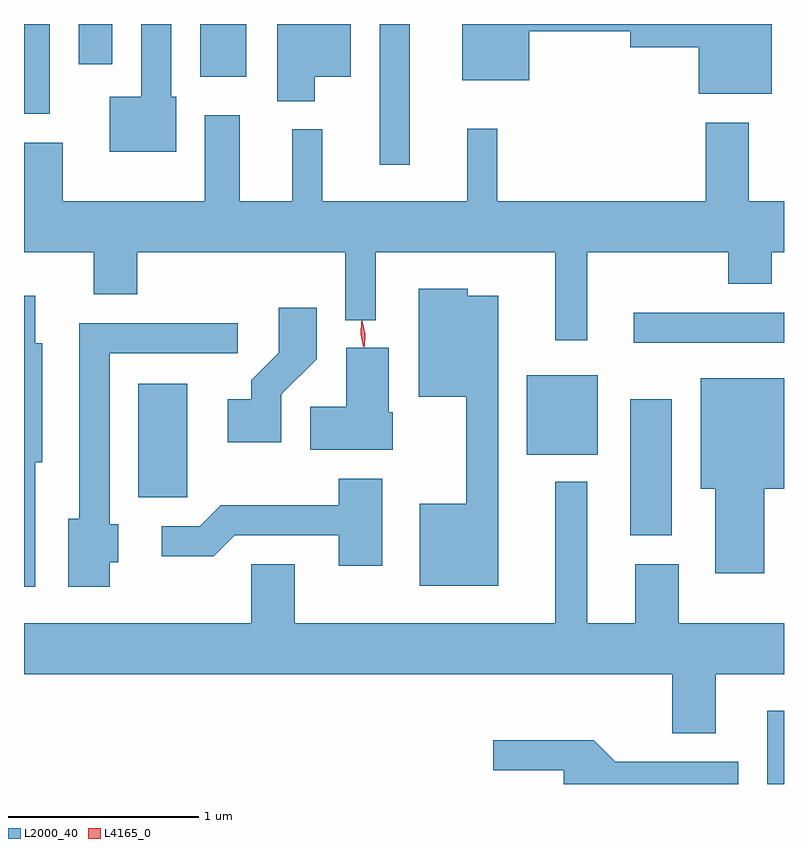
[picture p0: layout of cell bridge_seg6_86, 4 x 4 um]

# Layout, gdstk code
import gdstk
lib = gdstk.Library(unit=1e-6, precision=1e-09)
def R(c, l, rs):  # rectangles x0, y0, x1, y1
    for r in rs: c.add(gdstk.rectangle(r[:2], r[2:], *l))
def P(c, l, *ps):  # polygons
    for p in ps: c.add(gdstk.Polygon(p, *l))
L2000_40 = (2000, 40)
L4165_0 = (4165, 0)

bridge_seg6_86 = lib.new_cell('bridge_seg6_86')
R(bridge_seg6_86, L2000_40, [(1360.796,1647.138,1360.884,1647.524), (1360.076,1648.446,1360.294,1649.164), (1357.486,1648.646,1357.744,1649.244), (1359.531,1648.871,1359.904,1649.289), (1360.093,1649.461,1360.884,1649.619), (1358.756,1650.398,1358.914,1651.138), (1356.884,1650.666,1357.019,1651.138), (1357.811,1650.861,1358.054,1651.138), (1357.171,1650.926,1357.349,1651.138)])
P(bridge_seg6_86, L2000_40, [(1358.414,1650.861),(1358.604,1650.861),(1358.604,1651.138),(1358.216,1651.138),(1358.216,1650.731),(1358.414,1650.731)],
  [(1360.819,1651.138),(1359.191,1651.138),(1359.191,1650.841),(1359.544,1650.841),(1359.544,1651.101),(1360.076,1651.101),(1360.076,1651.016),(1360.436,1651.016),(1360.436,1650.771),(1360.819,1650.771)],
  [(1357.684,1650.754),(1357.659,1650.754),(1357.659,1651.138),(1357.501,1651.138),(1357.501,1650.754),(1357.336,1650.754),(1357.336,1650.466),(1357.684,1650.466)],
  [(1359.849,1649.936),(1360.591,1649.936),(1360.591,1649.771),(1360.819,1649.771),(1360.819,1649.936),(1360.884,1649.936),(1360.884,1650.204),(1360.699,1650.204),(1360.699,1650.619),(1360.471,1650.619),(1360.471,1650.204),(1359.374,1650.204),(1359.374,1650.588),(1359.216,1650.588),(1359.216,1650.204),(1358.454,1650.204),(1358.454,1650.583),(1358.296,1650.583),(1358.296,1650.204),(1358.019,1650.204),(1358.019,1650.659),(1357.836,1650.659),(1357.836,1650.204),(1357.089,1650.204),(1357.089,1650.514),(1356.884,1650.514),(1356.884,1649.936),(1357.251,1649.936),(1357.251,1649.716),(1357.479,1649.716),(1357.479,1649.936),(1358.576,1649.936),(1358.576,1649.578),(1358.734,1649.578),(1358.734,1649.936),(1359.681,1649.936),(1359.681,1649.473),(1359.849,1649.473)],
  [(1359.379,1649.709),(1359.219,1649.709),(1359.219,1649.744),(1358.961,1649.744),(1358.961,1649.176),(1359.211,1649.176),(1359.211,1648.614),(1358.966,1648.614),(1358.966,1648.181),(1359.379,1648.181)],
  [(1356.944,1648.831),(1356.979,1648.831),(1356.979,1649.459),(1356.944,1649.459),(1356.944,1649.709),(1356.884,1649.709),(1356.884,1648.176),(1356.944,1648.176)],
  [(1358.239,1649.189),(1358.424,1649.374),(1358.424,1649.644),(1358.226,1649.644),(1358.226,1649.407),(1358.081,1649.262),(1358.081,1649.164),(1357.956,1649.164),(1357.956,1648.936),(1358.239,1648.936)],
  [(1357.334,1648.306),(1357.379,1648.306),(1357.379,1648.504),(1357.334,1648.504),(1357.334,1649.406),(1358.008,1649.406),(1358.008,1649.564),(1357.176,1649.564),(1357.176,1648.534),(1357.116,1648.534),(1357.116,1648.176),(1357.334,1648.176)],
  [(1358.824,1649.094),(1358.804,1649.094),(1358.804,1649.434),(1358.581,1649.434),(1358.581,1649.124),(1358.391,1649.124),(1358.391,1648.896),(1358.824,1648.896)],
  [(1360.779,1648.691),(1360.884,1648.691),(1360.884,1649.274),(1360.446,1649.274),(1360.446,1648.691),(1360.521,1648.691),(1360.521,1648.246),(1360.779,1648.246)],
  [(1358.769,1648.744),(1358.541,1648.744),(1358.541,1648.604),(1357.919,1648.604),(1357.809,1648.494),(1357.608,1648.494),(1357.608,1648.336),(1357.882,1648.336),(1357.992,1648.446),(1358.541,1648.446),(1358.541,1648.286),(1358.769,1648.286)],
  [(1360.524,1647.716),(1360.884,1647.716),(1360.884,1647.984),(1360.329,1647.984),(1360.329,1648.294),(1360.101,1648.294),(1360.101,1647.984),(1359.849,1647.984),(1359.849,1648.728),(1359.681,1648.728),(1359.681,1647.984),(1358.309,1647.984),(1358.309,1648.294),(1358.081,1648.294),(1358.081,1647.984),(1356.884,1647.984),(1356.884,1647.716),(1360.296,1647.716),(1360.296,1647.406),(1360.524,1647.406)],
  [(1360.644,1647.254),(1359.997,1647.254),(1359.882,1647.369),(1359.353,1647.369),(1359.353,1647.211),(1359.726,1647.211),(1359.726,1647.138),(1360.644,1647.138)])
P(bridge_seg6_86, L4165_0, [(1358.677,1649.437),(1358.66,1649.505),(1358.662,1649.575),(1358.663,1649.575),(1358.663,1649.575),(1358.68,1649.507),(1358.678,1649.437),(1358.678,1649.437)],
  [(1358.67,1649.439),(1358.67,1649.439),(1358.656,1649.505),(1358.66,1649.571),(1358.661,1649.572),(1358.661,1649.571),(1358.676,1649.506),(1358.671,1649.439)])

lib.write_gds('bridge_seg6_86.gds')
